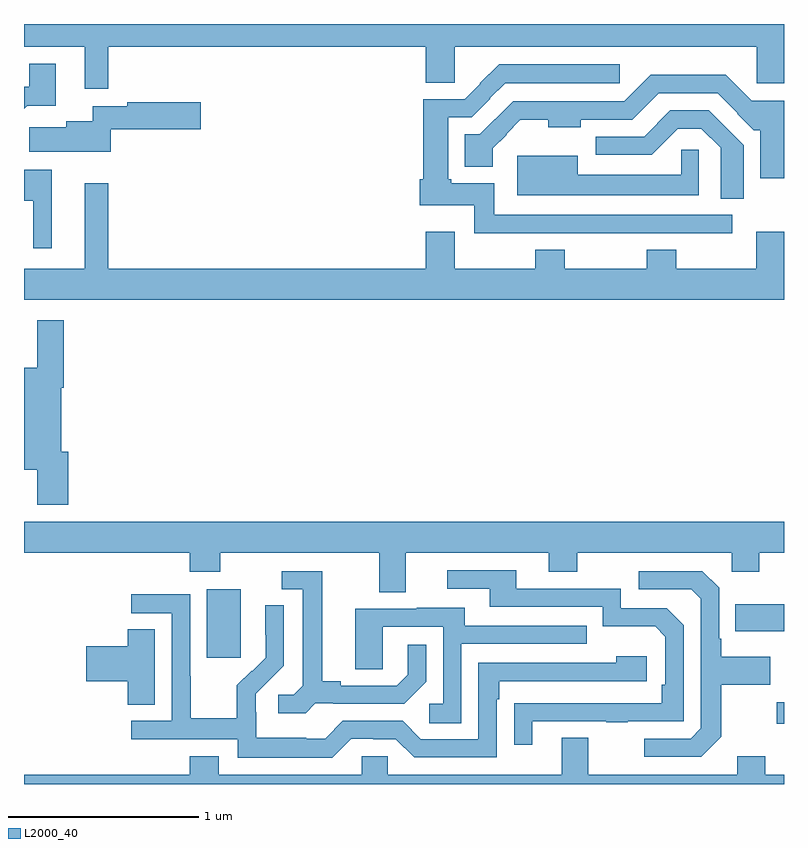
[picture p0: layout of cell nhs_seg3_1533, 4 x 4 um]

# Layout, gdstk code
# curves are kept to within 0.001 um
import gdstk
lib = gdstk.Library(unit=1e-6, precision=1e-09)
def R(c, l, rs):  # rectangles x0, y0, x1, y1
    for r in rs: c.add(gdstk.rectangle(r[:2], r[2:], *l))
def P(c, l, *ps):  # polygons
    for p in ps: c.add(gdstk.Polygon(p, *l))
L2000_40 = (2000, 40)

nhs_seg3_1533 = lib.new_cell('nhs_seg3_1533')
R(nhs_seg3_1533, L2000_40, [(194.961,666.717,195,666.83), (191.963,667.065,192.142,667.426), (194.743,667.205,195,667.345)])
P(nhs_seg3_1533, L2000_40, [(191.443,670.28),(193.115,670.28),(193.115,670.09),(193.266,670.09),(193.266,670.28),(194.857,670.28),(194.857,670.089),(195,670.089),(195,670.4),(191,670.4),(191,670.28),(191.321,670.28),(191.321,670.059),(191.443,670.059)],
  [(191.018,669.971),(191.167,669.971),(191.167,670.192),(191.027,670.192),(191.027,670.069),(191,670.069),(191,669.953)],
  [(193.601,669.3),(194.728,669.3),(194.728,669.396),(193.474,669.396),(193.474,669.562),(193.248,669.562),(193.248,669.582),(193.234,669.582),(193.234,669.909),(193.357,669.909),(193.454,670.006),(193.452,670.008),(193.533,670.089),(194.136,670.089),(194.136,670.189),(193.5,670.189),(193.399,670.088),(193.401,670.086),(193.32,670.005),(193.1,670.005),(193.1,669.582),(193.082,669.582),(193.082,669.446),(193.37,669.446),(193.37,669.299)],
  [(195,669.996),(194.829,669.996),(194.693,670.132),(194.299,670.132),(194.16,669.993),(193.574,669.993),(193.399,669.82),(193.319,669.82),(193.319,669.648),(193.468,669.648),(193.468,669.745),(193.541,669.818),(193.538,669.821),(193.613,669.896),(193.76,669.896),(193.76,669.857),(193.931,669.857),(193.931,669.897),(194.202,669.897),(194.34,670.035),(194.652,670.035),(194.757,669.93),(194.754,669.927),(194.842,669.84),(194.876,669.84),(194.876,669.588),(195,669.588)],
  [(191.457,669.845),(191.929,669.845),(191.929,669.987),(191.544,669.987),(191.544,669.967),(191.361,669.967),(191.361,669.889),(191.222,669.889),(191.222,669.857),(191.028,669.857),(191.028,669.728),(191.457,669.728)],
  [(194.788,669.761),(194.605,669.945),(194.402,669.945),(194.264,669.807),(194.01,669.807),(194.01,669.711),(194.304,669.711),(194.442,669.849),(194.565,669.849),(194.667,669.748),(194.667,669.481),(194.788,669.481)],
  [(194.552,669.739),(194.458,669.739),(194.458,669.607),(193.915,669.607),(193.915,669.706),(193.596,669.706),(193.596,669.5),(194.552,669.5)],
  [(191.146,669.634),(191,669.634),(191,669.47),(191.048,669.47),(191.048,669.219),(191.146,669.219)],
  [(195,669.307),(194.855,669.307),(194.855,669.112),(194.433,669.112),(194.433,669.211),(194.278,669.211),(194.278,669.112),(193.845,669.112),(193.845,669.211),(193.69,669.211),(193.69,669.112),(193.267,669.112),(193.267,669.307),(193.115,669.307),(193.115,669.112),(191.443,669.112),(191.443,669.562),(191.321,669.562),(191.321,669.112),(191,669.112),(191,668.948),(195,668.948)],
  [(191.234,668.148),(191.197,668.148),(191.197,668.486),(191.21,668.486),(191.21,668.842),(191.069,668.842),(191.069,668.59),(191,668.59),(191,668.055),(191.069,668.055),(191.069,667.869),(191.234,667.869)],
  [(193.009,667.616),(193.763,667.616),(193.763,667.517),(193.911,667.517),(193.911,667.616),(194.724,667.616),(194.724,667.517),(194.871,667.517),(194.871,667.616),(195,667.616),(195,667.78),(191,667.78),(191,667.616),(191.873,667.616),(191.873,667.517),(192.033,667.517),(192.033,667.616),(192.869,667.616),(192.869,667.408),(193.009,667.408)],
  [(193.675,666.729),(194.065,666.729),(194.065,666.724),(194.177,666.724),(194.177,666.729),(194.472,666.729),(194.472,667.236),(194.382,667.326),(194.142,667.326),(194.142,667.428),(193.591,667.428),(193.591,667.524),(193.227,667.524),(193.227,667.428),(193.451,667.428),(193.451,667.332),(194.046,667.332),(194.046,667.229),(194.323,667.229),(194.376,667.176),(194.376,666.922),(194.356,666.922),(194.356,666.825),(193.579,666.824),(193.579,666.606),(193.675,666.606)],
  [(192.534,666.825),(192.628,666.825),(192.628,666.822),(193,666.822),(193.116,666.938),(193.116,667.132),(193.019,667.132),(193.019,666.975),(192.962,666.918),(192.667,666.918),(192.667,666.941),(192.571,666.941),(192.571,667.521),(192.357,667.521),(192.357,667.425),(192.467,667.425),(192.467,666.917),(192.42,666.87),(192.339,666.87),(192.339,666.773),(192.482,666.773)],
  [(194.671,666.649),(194.671,666.922),(194.927,666.922),(194.927,667.069),(194.671,667.069),(194.671,667.165),(194.658,667.165),(194.658,667.434),(194.571,667.521),(194.235,667.521),(194.235,667.425),(194.511,667.425),(194.562,667.374),(194.562,666.693),(194.508,666.639),(194.265,666.639),(194.265,666.543),(194.565,666.543)],
  [(192.723,666.639),(192.839,666.639),(192.839,666.636),(192.957,666.636),(193.053,666.54),(193.488,666.54),(193.488,666.845),(193.501,666.845),(193.501,666.942),(194.278,666.942),(194.278,667.072),(194.117,667.072),(194.117,667.038),(193.392,667.038),(193.392,666.636),(193.089,666.636),(192.993,666.732),(192.678,666.732),(192.585,666.639),(192.485,666.639),(192.485,666.643),(192.222,666.643),(192.222,666.777),(192.22,666.777),(192.22,666.874),(192.366,667.022),(192.366,667.34),(192.27,667.34),(192.27,667.186),(192.272,667.186),(192.272,667.064),(192.201,666.993),(192.198,666.996),(192.121,666.919),(192.121,666.745),(191.877,666.745),(191.877,666.968),(191.874,666.968),(191.874,667.398),(191.565,667.398),(191.565,667.299),(191.778,667.299),(191.778,666.732),(191.565,666.732),(191.565,666.636),(192.126,666.636),(192.126,666.539),(192.623,666.539)],
  [(193.302,667.137),(193.961,667.137),(193.961,667.233),(193.321,667.233),(193.321,667.327),(193.067,667.327),(193.067,667.323),(192.743,667.323),(192.743,667.003),(192.888,667.003),(192.888,667.227),(193.206,667.227),(193.206,666.822),(193.134,666.822),(193.134,666.721),(193.302,666.721)],
  [(191.689,667.214),(191.546,667.214),(191.546,667.124),(191.328,667.124),(191.328,666.941),(191.546,666.941),(191.546,666.817),(191.689,666.817)],
  [(191.873,666.547),(191.873,666.448),(191,666.448),(191,666.4),(195,666.4),(195,666.448),(194.901,666.448),(194.901,666.547),(194.753,666.547),(194.753,666.448),(193.969,666.448),(193.969,666.643),(193.829,666.643),(193.829,666.448),(192.915,666.448),(192.915,666.546),(192.777,666.546),(192.777,666.448),(192.025,666.448),(192.025,666.547)])

lib.write_gds('nhs_seg3_1533.gds')
